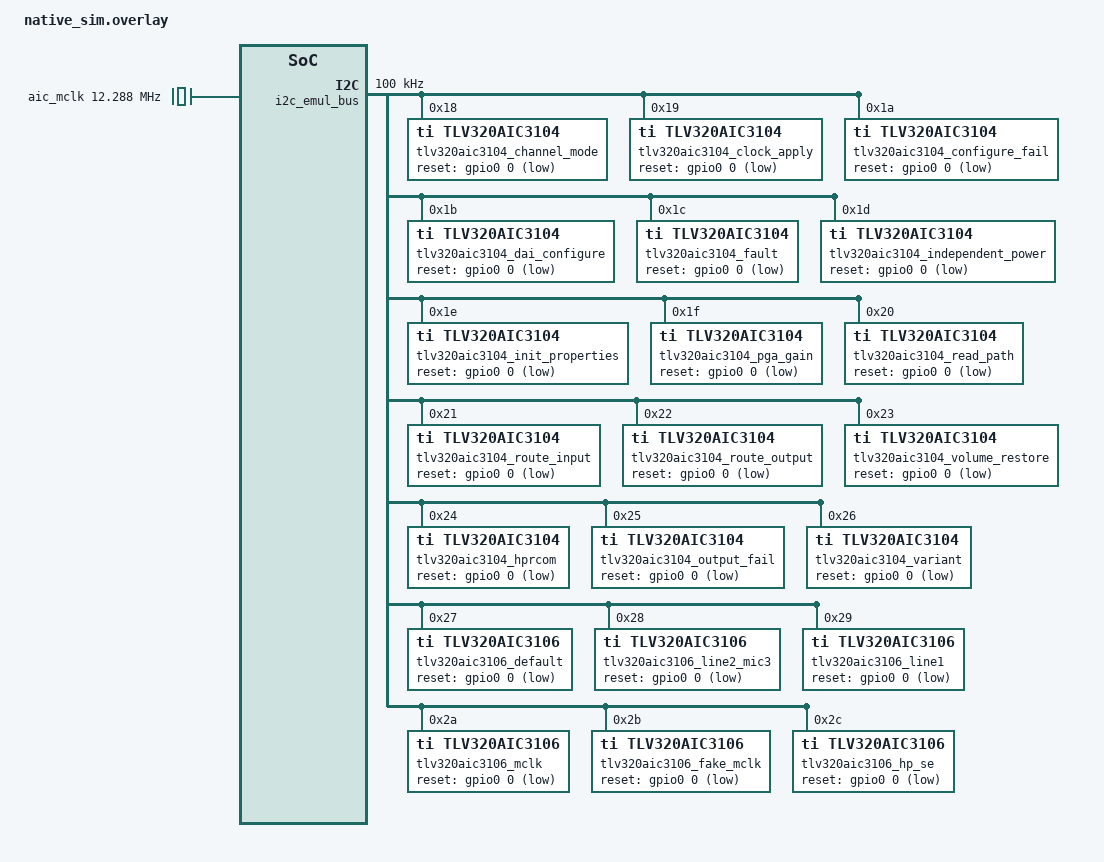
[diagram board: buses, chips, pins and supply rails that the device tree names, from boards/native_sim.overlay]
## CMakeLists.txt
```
# SPDX-FileCopyrightText: Copyright The Zephyr Project Contributors
# SPDX-License-Identifier: Apache-2.0

cmake_minimum_required(VERSION 3.20.0)
find_package(Zephyr REQUIRED HINTS $ENV{ZEPHYR_BASE})
project(tlv320aic3104_test)

target_sources(app PRIVATE
    src/tlv320aic3104_emul.c
    src/test_clock_solver.c
    src/test_clock_apply.c
    src/test_dai_configure.c
    src/test_channel_mode.c
    src/test_route_output.c
    src/test_route_input.c
    src/test_fault.c
    src/test_hprcom.c
    src/test_independent_power.c
    src/test_init_properties.c
    src/test_output_fail.c
    src/test_pga_gain.c
    src/test_read_path.c
    src/test_volume_restore.c
    src/test_configure_fail.c
    src/test_aic3106.c
    src/test_mclk_clock.c
    src/fake_clock.c
    src/test_hp_single_ended.c
)

target_include_directories(app PRIVATE src ${ZEPHYR_BASE}/drivers/audio)
```

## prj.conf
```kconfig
# SPDX-FileCopyrightText: Copyright The Zephyr Project Contributors
# SPDX-License-Identifier: Apache-2.0

CONFIG_ZTEST=y

CONFIG_I2C=y
CONFIG_EMUL=y
CONFIG_I2C_EMUL=y
CONFIG_GPIO=y
CONFIG_GPIO_EMUL=y
CONFIG_CLOCK_CONTROL=y

CONFIG_AUDIO=y
CONFIG_AUDIO_CODEC=y
CONFIG_AUDIO_TLV320AIC3104=y

CONFIG_LOG=y
```

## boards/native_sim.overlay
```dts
/*
 * SPDX-FileCopyrightText: Copyright The Zephyr Project Contributors
 * SPDX-License-Identifier: Apache-2.0
 */

/ {
	aic_mclk: aic-mclk {
		compatible = "fixed-clock";
		#clock-cells = <0>;
		clock-frequency = <12288000>;
	};

	aic_fake_mclk: aic-fake-mclk {
		compatible = "vnd,aic3104-test-clock";
		#clock-cells = <1>;
		output-rate = <12288000>;
	};

	i2c_emul_bus: i2c_emul@60000000 {
		compatible = "zephyr,i2c-emul-controller";
		reg = <0x60000000 0x1>;
		clock-frequency = <I2C_BITRATE_STANDARD>;
		#address-cells = <1>;
		#size-cells = <0>;
		status = "okay";

		tlv320aic3104_channel_mode: tlv320aic3104@18 {
			compatible = "ti,tlv320aic3104";
			reg = <0x18>;
			reset-gpios = <&gpio0 0 GPIO_ACTIVE_LOW>;
			status = "okay";
		};

		tlv320aic3104_clock_apply: tlv320aic3104@19 {
			compatible = "ti,tlv320aic3104";
			reg = <0x19>;
			reset-gpios = <&gpio0 0 GPIO_ACTIVE_LOW>;
			status = "okay";
		};

		tlv320aic3104_configure_fail: tlv320aic3104@1a {
			compatible = "ti,tlv320aic3104";
			reg = <0x1a>;
			reset-gpios = <&gpio0 0 GPIO_ACTIVE_LOW>;
			status = "okay";
		};

		tlv320aic3104_dai_configure: tlv320aic3104@1b {
			compatible = "ti,tlv320aic3104";
			reg = <0x1b>;
			reset-gpios = <&gpio0 0 GPIO_ACTIVE_LOW>;
			status = "okay";
		};

		tlv320aic3104_fault: tlv320aic3104@1c {
			compatible = "ti,tlv320aic3104";
			reg = <0x1c>;
			reset-gpios = <&gpio0 0 GPIO_ACTIVE_LOW>;
			status = "okay";
		};

		tlv320aic3104_independent_power: tlv320aic3104@1d {
			compatible = "ti,tlv320aic3104";
			reg = <0x1d>;
			reset-gpios = <&gpio0 0 GPIO_ACTIVE_LOW>;
			status = "okay";
		};

		tlv320aic3104_init_properties: tlv320aic3104@1e {
			compatible = "ti,tlv320aic3104";
			reg = <0x1e>;
			reset-gpios = <&gpio0 0 GPIO_ACTIVE_LOW>;

			mic-bias-level = <2>;
			adc-high-pass-filter = <3>;
			status = "okay";
		};

		tlv320aic3104_pga_gain: tlv320aic3104@1f {
			compatible = "ti,tlv320aic3104";
			reg = <0x1f>;
			reset-gpios = <&gpio0 0 GPIO_ACTIVE_LOW>;
			status = "okay";
		};

		tlv320aic3104_read_path: tlv320aic3104@20 {
			compatible = "ti,tlv320aic3104";
			reg = <0x20>;
			reset-gpios = <&gpio0 0 GPIO_ACTIVE_LOW>;
			status = "okay";
		};

		tlv320aic3104_route_input: tlv320aic3104@21 {
			compatible = "ti,tlv320aic3104";
			reg = <0x21>;
			reset-gpios = <&gpio0 0 GPIO_ACTIVE_LOW>;
			status = "okay";
		};

		tlv320aic3104_route_output: tlv320aic3104@22 {
			compatible = "ti,tlv320aic3104";
			reg = <0x22>;
			reset-gpios = <&gpio0 0 GPIO_ACTIVE_LOW>;
			status = "okay";
		};

		tlv320aic3104_volume_restore: tlv320aic3104@23 {
			compatible = "ti,tlv320aic3104";
			reg = <0x23>;
			reset-gpios = <&gpio0 0 GPIO_ACTIVE_LOW>;
			status = "okay";
		};

		tlv320aic3104_hprcom: tlv320aic3104@24 {
			compatible = "ti,tlv320aic3104";
			reg = <0x24>;
			reset-gpios = <&gpio0 0 GPIO_ACTIVE_LOW>;

			hprcom-vcm-output;
			status = "okay";
		};

		tlv320aic3104_output_fail: tlv320aic3104@25 {
			compatible = "ti,tlv320aic3104";
			reg = <0x25>;
			reset-gpios = <&gpio0 0 GPIO_ACTIVE_LOW>;
			status = "okay";
		};

		tlv320aic3104_variant: tlv320aic3104@26 {
			compatible = "ti,tlv320aic3104";
			reg = <0x26>;
			reset-gpios = <&gpio0 0 GPIO_ACTIVE_LOW>;
			status = "okay";
		};

		tlv320aic3106_default: tlv320aic3106@27 {
			compatible = "ti,tlv320aic3106";
			reg = <0x27>;
			reset-gpios = <&gpio0 0 GPIO_ACTIVE_LOW>;
			status = "okay";
		};

		tlv320aic3106_line2_mic3: tlv320aic3106@28 {
			compatible = "ti,tlv320aic3106";
			reg = <0x28>;
			reset-gpios = <&gpio0 0 GPIO_ACTIVE_LOW>;
			left-capture-input = "line2";
			right-capture-input = "mic3";
			status = "okay";
		};

		tlv320aic3106_line1: tlv320aic3106@29 {
			compatible = "ti,tlv320aic3106";
			reg = <0x29>;
			reset-gpios = <&gpio0 0 GPIO_ACTIVE_LOW>;
			left-capture-input = "line1";
			right-capture-input = "line1";
			status = "okay";
		};

		tlv320aic3106_mclk: tlv320aic3106@2a {
			compatible = "ti,tlv320aic3106";
			reg = <0x2a>;
			reset-gpios = <&gpio0 0 GPIO_ACTIVE_LOW>;
			clocks = <&aic_mclk>;
			clock-names = "mclk";
			status = "okay";
		};

		tlv320aic3106_fake_mclk: tlv320aic3106@2b {
			compatible = "ti,tlv320aic3106";
			reg = <0x2b>;
			reset-gpios = <&gpio0 0 GPIO_ACTIVE_LOW>;
			clocks = <&aic_fake_mclk 7>;
			clock-names = "mclk";
			status = "okay";
		};

		tlv320aic3106_hp_se: tlv320aic3106@2c {
			compatible = "ti,tlv320aic3106";
			reg = <0x2c>;
			reset-gpios = <&gpio0 0 GPIO_ACTIVE_LOW>;
			hp-single-ended;
			status = "okay";
		};
	};
};
```

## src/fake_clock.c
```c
/*
 * SPDX-FileCopyrightText: Copyright The Zephyr Project Contributors
 * SPDX-License-Identifier: Apache-2.0
 */

#define DT_DRV_COMPAT vnd_aic3104_test_clock

#include <zephyr/device.h>
#include <zephyr/drivers/clock_control.h>

#include "fake_clock.h"

static unsigned int s_on_count;
static uintptr_t s_last_subsys;
static int s_on_result;

void fake_clock_reset(void)
{
	s_on_count = 0U;
	s_last_subsys = 0U;
	s_on_result = 0;
}

unsigned int fake_clock_on_count(void)
{
	return s_on_count;
}

uintptr_t fake_clock_last_subsys(void)
{
	return s_last_subsys;
}

void fake_clock_set_on_result(int ret)
{
	s_on_result = ret;
}

static int fake_clock_on(const struct device *dev, clock_control_subsys_t sys)
{
	ARG_UNUSED(dev);

	s_on_count++;
	s_last_subsys = (uintptr_t)sys;

	return s_on_result;
}

static int fake_clock_get_rate(const struct device *dev, clock_control_subsys_t sys,
			       uint32_t *rate)
{
	ARG_UNUSED(sys);

	*rate = *(const uint32_t *)dev->config;

	return 0;
}

static DEVICE_API(clock_control, fake_clock_api) = {
	.on = fake_clock_on,
	.get_rate = fake_clock_get_rate,
};

#define FAKE_CLOCK_INIT(inst)                                                                      \
	static const uint32_t fake_clock_rate_##inst = DT_INST_PROP(inst, output_rate);            \
	DEVICE_DT_INST_DEFINE(inst, NULL, NULL, NULL, &fake_clock_rate_##inst, PRE_KERNEL_1,       \
			      CONFIG_CLOCK_CONTROL_INIT_PRIORITY, &fake_clock_api);

DT_INST_FOREACH_STATUS_OKAY(FAKE_CLOCK_INIT)
```

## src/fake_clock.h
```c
/*
 * SPDX-FileCopyrightText: Copyright The Zephyr Project Contributors
 * SPDX-License-Identifier: Apache-2.0
 */

#pragma once

#include <stdint.h>

void fake_clock_reset(void);

unsigned int fake_clock_on_count(void);

uintptr_t fake_clock_last_subsys(void);

void fake_clock_set_on_result(int ret);
```

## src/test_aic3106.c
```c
/*
 * SPDX-FileCopyrightText: Copyright The Zephyr Project Contributors
 * SPDX-License-Identifier: Apache-2.0
 */

/*
 * TLV320AIC3106 (ti,tlv320aic3106) against the TLV320AIC3104 register model.
 *
 * Register values follow the datasheets: SLAS509G (TLV320AIC3106) and
 * SLAS510G (TLV320AIC3104).
 *   R17/R18 MIC3L/R to left/right ADC (3106 Tables 10-25/10-26), MIC2/LINE2
 *           on the 3104 (Tables 10-23/10-24): D7-D4 left pin, D3-D0 right
 *           pin, 0000 = 0 dB, 1111 = not connected.
 *   R19/R22 LINE1L/LINE1R to left/right ADC (3106 Tables 10-27/10-30):
 *           D6-D3 level (1111 = not connected), D2 ADC channel power.
 *   R20/R23 LINE2L/LINE2R to left/right ADC (3106 Tables 10-28/10-31):
 *           D7 differential, D6-D3 level (1111 = not connected), D2 weak
 *           common-mode bias. Reserved, "do not write", on the 3104
 *           (Tables 10-26/10-29).
 */

#include <string.h>

#include <zephyr/ztest.h>
#include <zephyr/device.h>
#include <zephyr/audio/codec.h>

#include "tlv320aic3104_priv.h"

#include "tlv320aic3104_emul.h"

#define AIC3104       DEVICE_DT_GET(DT_NODELABEL(tlv320aic3104_variant))
#define AIC3106       DEVICE_DT_GET(DT_NODELABEL(tlv320aic3106_default))
#define AIC3106_EVM   DEVICE_DT_GET(DT_NODELABEL(tlv320aic3106_line2_mic3))
#define AIC3106_LINE1 DEVICE_DT_GET(DT_NODELABEL(tlv320aic3106_line1))

#define R17_MIC3_TO_LADC   0x11U
#define R18_MIC3_TO_RADC   0x12U
#define R19_LINE1L_TO_LADC 0x13U
#define R20_LINE2L_TO_LADC 0x14U
#define R22_LINE1R_TO_RADC 0x16U
#define R23_LINE2R_TO_RADC 0x17U

#define MIC3_OFF        0xFFU
#define MIC3L_LEFT_0DB  0x0FU
#define MIC3R_RIGHT_0DB 0xF0U
#define MIC3_MONO_MIX   0x44U
#define LEVEL_OFF       0x78U
#define ADC_POWER       0x04U

static const struct audio_codec_cfg codec_cfg = {
	.mclk_freq = 12288000,
	.dai_type = AUDIO_DAI_TYPE_I2S,
	.dai_cfg.i2s.frame_clk_freq = 48000,
	.dai_cfg.i2s.word_size = 16,
};

static void configure(const struct device *dev)
{
	struct audio_codec_cfg cfg = codec_cfg;

	zassert_ok(audio_codec_configure(dev, &cfg));
}

static void assert_reg(uint8_t addr, uint8_t expected, const char *what)
{
	uint8_t val = tlv320aic3104_emul_last_val(0, addr);

	zassert_equal(val, expected, "%s: R%u = 0x%02x, expected 0x%02x", what, addr, val,
		      expected);
}

static void assert_input_regs_untouched(void)
{
	static const uint8_t regs[] = {R17_MIC3_TO_LADC,   R18_MIC3_TO_RADC,   R19_LINE1L_TO_LADC,
				       R20_LINE2L_TO_LADC, R22_LINE1R_TO_RADC, R23_LINE2R_TO_RADC};

	for (size_t i = 0; i < ARRAY_SIZE(regs); i++) {
		zassert_false(tlv320aic3104_emul_was_written(0, regs[i]), "R%u written", regs[i]);
	}
}

/* TLV320AIC3104: R20/R23 are reserved, so LINE2 to ADC is not an input. */

ZTEST(tlv320_aic3106, test_aic3104_rejects_aic3106_line2)
{
	tlv320aic3104_emul_reset();
	zassert_equal(
		audio_codec_route_input(AIC3104, AUDIO_CHANNEL_ALL, TLV320AIC3106_INPUT_LINE2),
		-ENOTSUP);
	assert_input_regs_untouched();
}

ZTEST(tlv320_aic3106, test_aic3104_never_writes_reserved_registers)
{
	tlv320aic3104_emul_reset();
	configure(AIC3104);
	zassert_ok(audio_codec_route_input(AIC3104, AUDIO_CHANNEL_ALL, TLV320AIC3104_INPUT_LINE1));
	zassert_ok(audio_codec_route_input(AIC3104, AUDIO_CHANNEL_FRONT_LEFT,
					   TLV320AIC3104_INPUT_LINE2));
	zassert_ok(audio_codec_route_output(AIC3104, AUDIO_CHANNEL_FRONT_CENTER,
					    TLV320AIC3104_OUTPUT_HP));
	zassert_ok(audio_codec_route_output(AIC3104, AUDIO_CHANNEL_ALL, TLV320AIC3104_OUTPUT_LOP));
	zassert_ok(audio_codec_start(AIC3104, AUDIO_DAI_DIR_TXRX));
	zassert_ok(audio_codec_set_property(AIC3104, AUDIO_PROPERTY_OUTPUT_VOLUME,
					    AUDIO_CHANNEL_ALL,
					    (audio_property_value_t){.vol = -6}));
	zassert_ok(audio_codec_set_property(AIC3104, AUDIO_PROPERTY_INPUT_VOLUME, AUDIO_CHANNEL_ALL,
					    (audio_property_value_t){.vol = 60}));
	zassert_ok(audio_codec_stop(AIC3104, AUDIO_DAI_DIR_TXRX));
	zassert_ok(audio_codec_route_output(AIC3104, AUDIO_CHANNEL_ALL, TLV320AIC3104_OUTPUT_HP));

	zassert_equal(tlv320aic3104_emul_reserved_writes(), 0U, "reserved register written");
	zassert_false(tlv320aic3104_emul_was_written(0, R20_LINE2L_TO_LADC), "R20 written");
	zassert_false(tlv320aic3104_emul_was_written(0, R23_LINE2R_TO_RADC), "R23 written");
}

/*
 * Same configure() on both parts: identical page 0 writes, except that the
 * TLV320AIC3106 also disconnects LINE2 from the ADCs (R20/R23 = 0x78).
 */
ZTEST(tlv320_aic3106, test_configure_matches_aic3104_except_line2)
{
	uint8_t regs_3104[128];
	bool written_3104[128];

	/* Same output state on both nodes; other tests may have left LOP selected. */
	zassert_ok(audio_codec_route_output(AIC3104, AUDIO_CHANNEL_ALL, TLV320AIC3104_OUTPUT_HP));
	zassert_ok(audio_codec_route_output(AIC3106, AUDIO_CHANNEL_ALL, TLV320AIC3104_OUTPUT_HP));

	tlv320aic3104_emul_reset();
	configure(AIC3104);
	for (uint8_t r = 1; r < 128; r++) {
		regs_3104[r] = tlv320aic3104_emul_last_val(0, r);
		written_3104[r] = tlv320aic3104_emul_was_written(0, r);
	}

	tlv320aic3104_emul_reset();
	configure(AIC3106);

	for (uint8_t r = 1; r < 128; r++) {
		if (r == R20_LINE2L_TO_LADC || r == R23_LINE2R_TO_RADC) {
			continue;
		}
		zassert_equal(tlv320aic3104_emul_was_written(0, r), written_3104[r],
			      "R%u written on one part only", r);
		zassert_equal(tlv320aic3104_emul_last_val(0, r), regs_3104[r],
			      "R%u differs between the parts", r);
	}
	assert_reg(R20_LINE2L_TO_LADC, LEVEL_OFF, "LINE2L off the left ADC");
	assert_reg(R23_LINE2R_TO_RADC, LEVEL_OFF, "LINE2R off the right ADC");
	assert_reg(R17_MIC3_TO_LADC, MIC3L_LEFT_0DB, "default MIC3L to left ADC");
	assert_reg(R18_MIC3_TO_RADC, MIC3R_RIGHT_0DB, "default MIC3R to right ADC");
}


ZTEST(tlv320_aic3106, test_route_line2_all)
{
	tlv320aic3104_emul_reset();
	zassert_ok(audio_codec_route_input(AIC3106, AUDIO_CHANNEL_ALL, TLV320AIC3106_INPUT_LINE2));

	assert_reg(R20_LINE2L_TO_LADC, 0x00, "LINE2L to left ADC 0 dB");
	assert_reg(R23_LINE2R_TO_RADC, 0x00, "LINE2R to right ADC 0 dB");
	assert_reg(R17_MIC3_TO_LADC, MIC3_OFF, "MIC3 off the left ADC");
	assert_reg(R18_MIC3_TO_RADC, MIC3_OFF, "MIC3 off the right ADC");
	assert_reg(R19_LINE1L_TO_LADC, LEVEL_OFF, "LINE1L off");
	assert_reg(R22_LINE1R_TO_RADC, LEVEL_OFF, "LINE1R off");
}

ZTEST(tlv320_aic3106, test_route_line2_left_leaves_right_alone)
{
	tlv320aic3104_emul_reset();
	zassert_ok(audio_codec_route_input(AIC3106, AUDIO_CHANNEL_FRONT_LEFT,
					   TLV320AIC3106_INPUT_LINE2));

	assert_reg(R20_LINE2L_TO_LADC, 0x00, "LINE2L to left ADC 0 dB");
	assert_reg(R17_MIC3_TO_LADC, MIC3_OFF, "MIC3 off the left ADC");
	assert_reg(R19_LINE1L_TO_LADC, LEVEL_OFF, "LINE1L off");
	zassert_false(tlv320aic3104_emul_was_written(0, R18_MIC3_TO_RADC), "R18 written");
	zassert_false(tlv320aic3104_emul_was_written(0, R22_LINE1R_TO_RADC), "R22 written");
	zassert_false(tlv320aic3104_emul_was_written(0, R23_LINE2R_TO_RADC), "R23 written");
}

ZTEST(tlv320_aic3106, test_line2_level_keeps_differential_and_bias_bits)
{
	tlv320aic3104_emul_reset();
		tlv320aic3104_emul_set_val(0, R20_LINE2L_TO_LADC, 0x84);
	tlv320aic3104_emul_set_val(0, R23_LINE2R_TO_RADC, 0x80);

	zassert_ok(audio_codec_route_input(AIC3106, AUDIO_CHANNEL_ALL, TLV320AIC3106_INPUT_LINE2));
	assert_reg(R20_LINE2L_TO_LADC, 0x84, "LINE2L connected, D7/D2 kept");
	assert_reg(R23_LINE2R_TO_RADC, 0x80, "LINE2R connected, D7 kept");

	zassert_ok(audio_codec_route_input(AIC3106, AUDIO_CHANNEL_ALL, TLV320AIC3106_INPUT_MIC3));
	assert_reg(R20_LINE2L_TO_LADC, 0xFC, "LINE2L off, D7/D2 kept");
	assert_reg(R23_LINE2R_TO_RADC, 0xF8, "LINE2R off, D7 kept");
	assert_reg(R17_MIC3_TO_LADC, MIC3L_LEFT_0DB, "MIC3L to left ADC");
	assert_reg(R18_MIC3_TO_RADC, MIC3R_RIGHT_0DB, "MIC3R to right ADC");
}

ZTEST(tlv320_aic3106, test_route_mic3_right_for_jack_microphone)
{
	tlv320aic3104_emul_reset();
	tlv320aic3104_emul_set_val(0, R23_LINE2R_TO_RADC, 0x00);
	zassert_ok(audio_codec_route_input(AIC3106, AUDIO_CHANNEL_FRONT_RIGHT,
					   TLV320AIC3106_INPUT_MIC3));

	assert_reg(R18_MIC3_TO_RADC, MIC3R_RIGHT_0DB, "MIC3R to right ADC 0 dB");
	assert_reg(R23_LINE2R_TO_RADC, LEVEL_OFF, "LINE2R off the right ADC");
	assert_reg(R22_LINE1R_TO_RADC, LEVEL_OFF, "LINE1R off");
	zassert_false(tlv320aic3104_emul_was_written(0, R17_MIC3_TO_LADC), "R17 written");
}

ZTEST(tlv320_aic3106, test_route_line1_disconnects_line2)
{
	tlv320aic3104_emul_reset();
	zassert_ok(audio_codec_route_input(AIC3106, AUDIO_CHANNEL_ALL, TLV320AIC3106_INPUT_LINE2));
	zassert_ok(audio_codec_route_input(AIC3106, AUDIO_CHANNEL_ALL, TLV320AIC3106_INPUT_LINE1));

	assert_reg(R19_LINE1L_TO_LADC, 0x00, "LINE1L to left ADC 0 dB");
	assert_reg(R22_LINE1R_TO_RADC, 0x00, "LINE1R to right ADC 0 dB");
	assert_reg(R20_LINE2L_TO_LADC, LEVEL_OFF, "LINE2L off");
	assert_reg(R23_LINE2R_TO_RADC, LEVEL_OFF, "LINE2R off");
	assert_reg(R17_MIC3_TO_LADC, MIC3_OFF, "MIC3 off the left ADC");
	assert_reg(R18_MIC3_TO_RADC, MIC3_OFF, "MIC3 off the right ADC");
}

ZTEST(tlv320_aic3106, test_unsupported_input_writes_nothing)
{
	tlv320aic3104_emul_reset();
	zassert_equal(
		audio_codec_route_input(AIC3106, AUDIO_CHANNEL_ALL, TLV320AIC3106_INPUT_LINE2 + 1),
		-ENOTSUP);
	assert_input_regs_untouched();
}

ZTEST(tlv320_aic3106, test_rx_start_keeps_line2)
{
	tlv320aic3104_emul_reset();
	configure(AIC3106);
	zassert_ok(audio_codec_route_input(AIC3106, AUDIO_CHANNEL_ALL, TLV320AIC3106_INPUT_LINE2));
	zassert_ok(audio_codec_start(AIC3106, AUDIO_DAI_DIR_RX));

	assert_reg(R20_LINE2L_TO_LADC, 0x00, "LINE2L stays on the left ADC");
	assert_reg(R23_LINE2R_TO_RADC, 0x00, "LINE2R stays on the right ADC");
	assert_reg(R17_MIC3_TO_LADC, MIC3_OFF, "MIC3 stays off the left ADC");
	assert_reg(R18_MIC3_TO_RADC, MIC3_OFF, "MIC3 stays off the right ADC");
	assert_reg(R19_LINE1L_TO_LADC, LEVEL_OFF | ADC_POWER, "left ADC on, LINE1L off");
	assert_reg(R22_LINE1R_TO_RADC, LEVEL_OFF | ADC_POWER, "right ADC on, LINE1R off");
}

ZTEST(tlv320_aic3106, test_mono_has_no_line2_mix)
{
	tlv320aic3104_emul_reset();
	configure(AIC3106);
	zassert_ok(audio_codec_route_input(AIC3106, AUDIO_CHANNEL_ALL, TLV320AIC3106_INPUT_LINE2));
	zassert_ok(audio_codec_route_output(AIC3106, AUDIO_CHANNEL_FRONT_CENTER,
					    TLV320AIC3104_OUTPUT_HP));
	zassert_ok(audio_codec_start(AIC3106, AUDIO_DAI_DIR_RX));

	assert_reg(R17_MIC3_TO_LADC, MIC3_OFF, "mono: MIC3 off the left ADC");
	assert_reg(R18_MIC3_TO_RADC, MIC3_OFF, "mono: MIC3 off the right ADC");
	assert_reg(R20_LINE2L_TO_LADC, 0x00, "mono: LINE2L stays on the left ADC");
	assert_reg(R23_LINE2R_TO_RADC, 0x00, "mono: LINE2R stays on the right ADC");

	/* Leave the shared node in stereo for the other tests. */
	zassert_ok(audio_codec_route_output(AIC3106, AUDIO_CHANNEL_ALL, TLV320AIC3104_OUTPUT_HP));
}

ZTEST(tlv320_aic3106, test_mono_mixes_mic3_like_aic3104_line2)
{
	tlv320aic3104_emul_reset();
	configure(AIC3106);
	zassert_ok(audio_codec_route_output(AIC3106, AUDIO_CHANNEL_FRONT_CENTER,
					    TLV320AIC3104_OUTPUT_HP));

	assert_reg(R17_MIC3_TO_LADC, MIC3_MONO_MIX, "MIC3L and MIC3R at -6 dB to the left ADC");
	assert_reg(R18_MIC3_TO_RADC, MIC3_MONO_MIX, "MIC3L and MIC3R at -6 dB to the right ADC");

	zassert_ok(audio_codec_route_output(AIC3106, AUDIO_CHANNEL_ALL, TLV320AIC3104_OUTPUT_HP));
}


ZTEST(tlv320_aic3106, test_dt_default_line2_left_mic3_right)
{
	tlv320aic3104_emul_reset();
	configure(AIC3106_EVM);

	assert_reg(R20_LINE2L_TO_LADC, 0x00, "LINE2L to left ADC");
	assert_reg(R17_MIC3_TO_LADC, MIC3_OFF, "MIC3 off the left ADC");
	assert_reg(R19_LINE1L_TO_LADC, LEVEL_OFF, "LINE1L off");
	assert_reg(R18_MIC3_TO_RADC, MIC3R_RIGHT_0DB, "MIC3R to right ADC");
	assert_reg(R23_LINE2R_TO_RADC, LEVEL_OFF, "LINE2R off");
	assert_reg(R22_LINE1R_TO_RADC, LEVEL_OFF, "LINE1R off");

	zassert_ok(audio_codec_start(AIC3106_EVM, AUDIO_DAI_DIR_RX));
	assert_reg(R20_LINE2L_TO_LADC, 0x00, "start keeps LINE2L");
	assert_reg(R17_MIC3_TO_LADC, MIC3_OFF, "start keeps MIC3 off the left ADC");
	assert_reg(R18_MIC3_TO_RADC, MIC3R_RIGHT_0DB, "start keeps MIC3R");
	assert_reg(R19_LINE1L_TO_LADC, LEVEL_OFF | ADC_POWER, "left ADC powered");
	assert_reg(R22_LINE1R_TO_RADC, LEVEL_OFF | ADC_POWER, "right ADC powered");
}

ZTEST(tlv320_aic3106, test_configure_restores_dt_default)
{
	tlv320aic3104_emul_reset();
	configure(AIC3106_EVM);
	zassert_ok(
		audio_codec_route_input(AIC3106_EVM, AUDIO_CHANNEL_ALL, TLV320AIC3106_INPUT_LINE1));
	configure(AIC3106_EVM);

	assert_reg(R20_LINE2L_TO_LADC, 0x00, "LINE2L back on the left ADC");
	assert_reg(R18_MIC3_TO_RADC, MIC3R_RIGHT_0DB, "MIC3R back on the right ADC");
	assert_reg(R19_LINE1L_TO_LADC, LEVEL_OFF, "LINE1L off again");
	assert_reg(R22_LINE1R_TO_RADC, LEVEL_OFF, "LINE1R off again");
}

ZTEST(tlv320_aic3106, test_dt_default_line1)
{
	tlv320aic3104_emul_reset();
	configure(AIC3106_LINE1);

	assert_reg(R19_LINE1L_TO_LADC, 0x00, "LINE1L to left ADC");
	assert_reg(R22_LINE1R_TO_RADC, 0x00, "LINE1R to right ADC");
	assert_reg(R17_MIC3_TO_LADC, MIC3_OFF, "MIC3 off the left ADC");
	assert_reg(R18_MIC3_TO_RADC, MIC3_OFF, "MIC3 off the right ADC");
	assert_reg(R20_LINE2L_TO_LADC, LEVEL_OFF, "LINE2L off");
	assert_reg(R23_LINE2R_TO_RADC, LEVEL_OFF, "LINE2R off");

	zassert_ok(audio_codec_start(AIC3106_LINE1, AUDIO_DAI_DIR_RX));
	assert_reg(R19_LINE1L_TO_LADC, ADC_POWER, "LINE1L kept, left ADC powered");
	assert_reg(R22_LINE1R_TO_RADC, ADC_POWER, "LINE1R kept, right ADC powered");
}

ZTEST_SUITE(tlv320_aic3106, NULL, NULL, NULL, NULL, NULL);
```

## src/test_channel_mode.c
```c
/*
 * SPDX-FileCopyrightText: Copyright The Zephyr Project Contributors
 * SPDX-License-Identifier: Apache-2.0
 */

#include <zephyr/ztest.h>
#include <zephyr/device.h>
#include <zephyr/audio/codec.h>
#include <zephyr/drivers/i2c.h>
#include <zephyr/drivers/i2c_emul.h>

#include "tlv320aic3104_priv.h"

#include "tlv320aic3104_emul.h"

#define CODEC DEVICE_DT_GET(DT_NODELABEL(tlv320aic3104_channel_mode))

ZTEST(tlv320_channel_mode, test_stereo_sets_datapath_0x0a)
{
	zassert_true(device_is_ready(CODEC));
	tlv320aic3104_emul_reset();
	zassert_ok(audio_codec_route_output(CODEC, AUDIO_CHANNEL_ALL, TLV320AIC3104_OUTPUT_HP));
	zassert_equal(tlv320aic3104_emul_last_val(0, 0x07), 0x0A, "stereo datapath");
	zassert_equal(tlv320aic3104_emul_last_val(0, 0x11), 0x0F, "stereo R17");
	zassert_equal(tlv320aic3104_emul_last_val(0, 0x12), 0xF0, "stereo R18");
}

ZTEST(tlv320_channel_mode, test_mono_sets_datapath_0x1e)
{
	tlv320aic3104_emul_reset();
	zassert_ok(audio_codec_route_output(CODEC, AUDIO_CHANNEL_FRONT_CENTER,
					    TLV320AIC3104_OUTPUT_HP));
	zassert_equal(tlv320aic3104_emul_last_val(0, 0x07), 0x1E, "mono datapath");
	zassert_equal(tlv320aic3104_emul_last_val(0, 0x11), 0x44, "mono R17");
	zassert_equal(tlv320aic3104_emul_last_val(0, 0x12), 0x44, "mono R18");
}

ZTEST(tlv320_channel_mode, test_capture_start_powers_adc_and_routes_line2)
{
	tlv320aic3104_emul_reset();

	tlv320aic3104_emul_set_val(0, 0x13, 0x78);
	tlv320aic3104_emul_set_val(0, 0x16, 0x78);
	zassert_ok(audio_codec_route_output(CODEC, AUDIO_CHANNEL_ALL, TLV320AIC3104_OUTPUT_HP));
	zassert_ok(audio_codec_start(CODEC, AUDIO_DAI_DIR_RX));
	zassert_equal(tlv320aic3104_emul_last_val(0, 0x13), 0x7C, "Left-ADC powered (R19)");
	zassert_equal(tlv320aic3104_emul_last_val(0, 0x16), 0x7C, "Right-ADC powered (R22)");
	zassert_equal(tlv320aic3104_emul_last_val(0, 0x0F), 0x00, "Left PGA 0dB unmuted (R15)");
	zassert_equal(tlv320aic3104_emul_last_val(0, 0x10), 0x00, "Right PGA 0dB unmuted (R16)");
	zassert_equal(tlv320aic3104_emul_last_val(0, 0x11), 0x0F, "LINE2L->LADC (R17)");
	zassert_equal(tlv320aic3104_emul_last_val(0, 0x12), 0xF0, "LINE2R->RADC (R18)");

	zassert_equal(tlv320aic3104_emul_last_val(0, 0x19), 0x00, "MICBIAS off by default (R25)");
	zassert_equal(tlv320aic3104_emul_last_val(0, 0x0C), 0x00,
		      "ADC HPF disabled by default (R12)");
}

ZTEST(tlv320_channel_mode, test_channel_mode_preserves_clock_family_bit)
{

	tlv320aic3104_emul_reset();
	tlv320aic3104_emul_set_val(0, 0x07, 0x80);

	zassert_ok(audio_codec_route_output(CODEC, AUDIO_CHANNEL_FRONT_CENTER,
					    TLV320AIC3104_OUTPUT_HP));
	zassert_equal(tlv320aic3104_emul_last_val(0, 0x07), 0x9E, "family bit survives mono write");

	zassert_ok(audio_codec_route_output(CODEC, AUDIO_CHANNEL_ALL, TLV320AIC3104_OUTPUT_HP));
	zassert_equal(tlv320aic3104_emul_last_val(0, 0x07), 0x8A,
		      "family bit survives stereo write");
}

ZTEST(tlv320_channel_mode, test_capture_stop_powers_down_adc)
{
	tlv320aic3104_emul_reset();

	tlv320aic3104_emul_set_val(0, 0x13, 0x78);
	tlv320aic3104_emul_set_val(0, 0x16, 0x78);
	zassert_ok(audio_codec_start(CODEC, AUDIO_DAI_DIR_RX));
	zassert_ok(audio_codec_stop(CODEC, AUDIO_DAI_DIR_RX));
	zassert_equal(tlv320aic3104_emul_last_val(0, 0x13), 0x78, "Left-ADC off (R19)");
	zassert_equal(tlv320aic3104_emul_last_val(0, 0x16), 0x78, "Right-ADC off (R22)");
	zassert_equal(tlv320aic3104_emul_last_val(0, 0x0F), 0x80, "Left PGA muted (R15)");
}

ZTEST_SUITE(tlv320_channel_mode, NULL, NULL, NULL, NULL, NULL);
```

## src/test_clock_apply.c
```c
/*
 * SPDX-FileCopyrightText: Copyright The Zephyr Project Contributors
 * SPDX-License-Identifier: Apache-2.0
 */

#include <errno.h>
#include <zephyr/audio/codec.h>
#include <zephyr/device.h>
#include <zephyr/ztest.h>

#include "tlv320aic3104_emul.h"

#define CODEC DEVICE_DT_GET(DT_NODELABEL(tlv320aic3104_clock_apply))

#define R_NDAC_NADC 0x02U
#define R_PLL_A     0x03U
#define R_PLL_B     0x04U
#define R_PLL_C     0x05U
#define R_PLL_D     0x06U
#define R_DATAPATH  0x07U
#define R_OVERFLOW  0x0BU
#define R_CLOCK     0x65U

static void before_each(void *fixture)
{
	ARG_UNUSED(fixture);
	tlv320aic3104_emul_reset();
}

ZTEST_SUITE(tlv320_clock_apply, NULL, NULL, before_each, NULL, NULL);

ZTEST(tlv320_clock_apply, test_divider_only_register_set)
{
	struct audio_codec_cfg cfg = {
		.mclk_freq = 12288000,
		.dai_type = AUDIO_DAI_TYPE_I2S,
		.dai_cfg.i2s.frame_clk_freq = 48000,
		.dai_cfg.i2s.word_size = 16,
	};

	zassert_ok(audio_codec_configure(CODEC, &cfg));

	zassert_equal(tlv320aic3104_emul_last_val(0, R_NDAC_NADC), 0x00, "R2 NCODEC=1");
	zassert_equal(tlv320aic3104_emul_last_val(0, R_PLL_A), 0x10, "R3 PLL off, Q=2");
	zassert_equal(tlv320aic3104_emul_last_val(0, R_PLL_B), 0x00, "R4 unused, PLL off");
	zassert_equal(tlv320aic3104_emul_last_val(0, R_PLL_C), 0x00, "R5 unused, PLL off");
	zassert_equal(tlv320aic3104_emul_last_val(0, R_PLL_D), 0x00, "R6 unused, PLL off");
	zassert_equal(tlv320aic3104_emul_last_val(0, R_OVERFLOW), 0x00,
		      "R11 PLL R unused, PLL off");
	zassert_equal(tlv320aic3104_emul_last_val(0, R_DATAPATH), 0x0A,
		      "R7 stereo datapath, 48 kHz family bit clear");

	zassert_equal(tlv320aic3104_emul_last_val(0, R_CLOCK), 0x01,
		      "R101 CODEC_CLKIN = CLKDIV_OUT when the PLL is off");
}

ZTEST(tlv320_clock_apply, test_pll_required_register_set)
{
	struct audio_codec_cfg cfg = {
		.mclk_freq = 12000000,
		.dai_type = AUDIO_DAI_TYPE_I2S,
		.dai_cfg.i2s.frame_clk_freq = 44100,
		.dai_cfg.i2s.word_size = 16,
	};

	zassert_ok(audio_codec_configure(CODEC, &cfg));

	zassert_equal(tlv320aic3104_emul_last_val(0, R_NDAC_NADC), 0x00, "R2 NCODEC=1");
	zassert_equal(tlv320aic3104_emul_last_val(0, R_PLL_A), 0x81, "R3 PLL on, P=1");
	zassert_equal(tlv320aic3104_emul_last_val(0, R_PLL_B), 0x1C, "R4 J=7");
	zassert_equal(tlv320aic3104_emul_last_val(0, R_PLL_C), 0x52, "R5 D MSBs");
	zassert_equal(tlv320aic3104_emul_last_val(0, R_PLL_D), 0x40, "R6 D LSBs");
	zassert_equal(tlv320aic3104_emul_last_val(0, R_OVERFLOW), 0x01, "R11 PLL R=1");
	zassert_equal(tlv320aic3104_emul_last_val(0, R_DATAPATH), 0x8A,
		      "R7 stereo datapath, 44.1 kHz family bit set");

	zassert_equal(tlv320aic3104_emul_last_val(0, R_CLOCK), 0x00,
		      "R101 CODEC_CLKIN = PLLDIV_OUT when the PLL is on");
}

ZTEST(tlv320_clock_apply, test_unreachable_rate_writes_no_clock_register)
{
	struct audio_codec_cfg cfg = {
		.mclk_freq = 12000000,
		.dai_type = AUDIO_DAI_TYPE_I2S,
		.dai_cfg.i2s.frame_clk_freq = 44101,
		.dai_cfg.i2s.word_size = 16,
	};

	zassert_equal(audio_codec_configure(CODEC, &cfg), -ENOTSUP);

	zassert_equal(tlv320aic3104_emul_last_val(0, R_NDAC_NADC), 0x00, "R2 untouched");
	zassert_equal(tlv320aic3104_emul_last_val(0, R_PLL_A), 0x00, "R3 untouched");
	zassert_equal(tlv320aic3104_emul_last_val(0, R_PLL_B), 0x00, "R4 untouched");
	zassert_equal(tlv320aic3104_emul_last_val(0, R_PLL_C), 0x00, "R5 untouched");
	zassert_equal(tlv320aic3104_emul_last_val(0, R_PLL_D), 0x00, "R6 untouched");
	zassert_equal(tlv320aic3104_emul_last_val(0, R_OVERFLOW), 0x00, "R11 untouched");
	zassert_equal(tlv320aic3104_emul_last_val(0, R_DATAPATH), 0x00,
		      "R7 untouched - configure() aborted before any write");
	zassert_equal(tlv320aic3104_emul_last_val(0, R_CLOCK), 0x00, "R101 untouched");
}
```

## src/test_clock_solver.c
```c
/*
 * SPDX-FileCopyrightText: Copyright The Zephyr Project Contributors
 * SPDX-License-Identifier: Apache-2.0
 */

#include <errno.h>
#include <stdint.h>

#include <zephyr/ztest.h>

#include "tlv320aic3104_priv.h"

static bool decoded_rate_matches(const struct tlv320aic3104_clock_solution *sol, uint32_t mclk_hz,
				 uint32_t expected_rate_hz)
{
	uint8_t ncodec_code = sol->r2_ndac_nadc & 0x0F;

	zassert_equal(ncodec_code, (sol->r2_ndac_nadc >> 4) & 0x0F, "NDAC != NADC");

	int64_t fsref_x2;

	if (sol->pll_enabled) {
		uint8_t p_code = sol->r3_pll_enable_q_p & 0x07;
		uint8_t r_code = sol->r11_pll_r & 0x0F;
		uint32_t p = (p_code == 0) ? 8 : p_code;
		uint32_t r = (r_code == 0) ? 16 : r_code;
		uint32_t j = (sol->r4_pll_j >> 2) & 0x3F;
		uint32_t d =
			(((uint32_t)sol->r5_pll_d_msb) << 6) | ((sol->r6_pll_d_lsb >> 2) & 0x3F);
		int64_t k10000 = (int64_t)j * 10000 + d;

		int64_t num = (int64_t)mclk_hz * k10000 * r;
		int64_t den = 1024LL * p * 10000LL;

		zassert_equal(num % den, 0, "PLL solution does not reproduce an exact fS(ref)");
		fsref_x2 = num / den;
	} else {
		uint8_t q_code = (sol->r3_pll_enable_q_p >> 3) & 0x0F;
		uint32_t q = (q_code == 0) ? 16 : (q_code == 1) ? 17 : q_code;

		zassert_equal(sol->r3_pll_enable_q_p & 0x80, 0,
			      "divider solution left PLL enabled");

		zassert_equal(mclk_hz % (64u * q), 0, "divider solution does not divide exactly");
		fsref_x2 = mclk_hz / (64u * q);
	}

	int64_t ncodec_x2 = ncodec_code + 2;

	return (fsref_x2 % ncodec_x2 == 0) && (fsref_x2 / ncodec_x2 == expected_rate_hz);
}

ZTEST(tlv320aic3104_clock_solver, test_divider_exact_multiple_disables_pll)
{
	struct tlv320aic3104_clock_solution sol;

	zassert_equal(0, tlv320aic3104_clock_solve(12288000, 48000, &sol));
	zassert_false(sol.pll_enabled, "exact division must not engage the PLL");
	zassert_equal(sol.r3_pll_enable_q_p & 0x80, 0, "R3 D7 must be 0 when PLL is off");
	zassert_true(decoded_rate_matches(&sol, 12288000, 48000));
}

ZTEST(tlv320aic3104_clock_solver, test_pll_required_for_standard_rate)
{
	struct tlv320aic3104_clock_solution sol;

	zassert_equal(0, tlv320aic3104_clock_solve(12000000, 44100, &sol));
	zassert_true(sol.pll_enabled, "12 MHz to 44.1 kHz needs the PLL");
	zassert_equal(sol.r3_pll_enable_q_p & 0x80, 0x80, "R3 D7 must be 1 when PLL is on");
	zassert_true(decoded_rate_matches(&sol, 12000000, 44100));
}

ZTEST(tlv320aic3104_clock_solver, test_mclk_below_pll_input_minimum_rejected)
{
	struct tlv320aic3104_clock_solution sol;

	zassert_equal(-ENOTSUP, tlv320aic3104_clock_solve(400000, 8000, &sol));
}

ZTEST(tlv320aic3104_clock_solver, test_mclk_above_input_maximum_rejected)
{
	struct tlv320aic3104_clock_solution sol;

	zassert_equal(-ENOTSUP, tlv320aic3104_clock_solve(60000000, 48000, &sol));
}

ZTEST(tlv320aic3104_clock_solver, test_unreachable_rate_rejected)
{
	struct tlv320aic3104_clock_solution sol;

	zassert_equal(-ENOTSUP, tlv320aic3104_clock_solve(12000000, 44101, &sol));
}

ZTEST(tlv320aic3104_clock_solver, test_every_standard_rate_at_common_mclk)
{

	static const uint32_t rates[] = {8000,  11025, 12000, 16000, 22050,
					 24000, 32000, 44100, 48000};

	for (size_t i = 0; i < ARRAY_SIZE(rates); i++) {
		struct tlv320aic3104_clock_solution sol;
		int ret = tlv320aic3104_clock_solve(12000000, rates[i], &sol);

		zassert_equal(0, ret, "rate %u should be reachable at 12 MHz", rates[i]);
		zassert_true(decoded_rate_matches(&sol, 12000000, rates[i]),
			     "rate %u decoded incorrectly", rates[i]);
	}
}

ZTEST(tlv320aic3104_clock_solver, test_zero_rate_rejected_before_arithmetic)
{
	struct tlv320aic3104_clock_solution sol;

	zassert_equal(-EINVAL, tlv320aic3104_clock_solve(12000000, 0, &sol));
}

ZTEST(tlv320aic3104_clock_solver, test_zero_mclk_rejected_before_arithmetic)
{
	struct tlv320aic3104_clock_solution sol;

	zassert_equal(-EINVAL, tlv320aic3104_clock_solve(0, 48000, &sol));
}

ZTEST(tlv320aic3104_clock_solver, test_fractional_ncodec_divider_honours_fsref_floor)
{
	struct tlv320aic3104_clock_solution sol;
	uint8_t ncodec_code;
	int64_t ncodec_x2;
	uint8_t q_code;
	uint32_t q;
	int64_t fsref_x2;

	zassert_equal(0, tlv320aic3104_clock_solve(36864000, 16000, &sol));
	zassert_true(decoded_rate_matches(&sol, 36864000, 16000));

	if (sol.pll_enabled) {
		return;
	}

	ncodec_code = sol.r2_ndac_nadc & 0x0F;
	ncodec_x2 = ncodec_code + 2;

	if ((ncodec_x2 % 2) == 0) {
		return;
	}

	q_code = (sol.r3_pll_enable_q_p >> 3) & 0x0F;
	q = (q_code == 0) ? 16 : (q_code == 1) ? 17 : q_code;
	fsref_x2 = 36864000 / (64u * q);

	zassert_true(fsref_x2 >= 39000 * 2,
		     "half-integer NCODEC divider solution at fS(ref) %lld Hz, below the "
		     "39 kHz floor that mode requires",
		     (long long)(fsref_x2 / 2));
}

ZTEST_SUITE(tlv320aic3104_clock_solver, NULL, NULL, NULL, NULL, NULL);
```

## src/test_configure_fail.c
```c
/*
 * SPDX-FileCopyrightText: Copyright The Zephyr Project Contributors
 * SPDX-License-Identifier: Apache-2.0
 */

#include <zephyr/ztest.h>
#include <zephyr/device.h>
#include <zephyr/audio/codec.h>
#include <errno.h>

#include "tlv320aic3104_emul.h"

#define CODEC DEVICE_DT_GET(DT_NODELABEL(tlv320aic3104_configure_fail))

#define REG_SOFT_RESET     0x01U
#define REG_CODEC_DATAPATH 0x07U
#define REG_DAC_POWER      0x25U
#define REG_HPLOUT_LEVEL   0x33U
#define VAL_HPLOUT_LEVEL   0x09U

static struct audio_codec_cfg s_cfg = {
	.mclk_freq = 12288000,
	.dai_type = AUDIO_DAI_TYPE_I2S,
	.dai_cfg.i2s.frame_clk_freq = 48000,
	.dai_cfg.i2s.word_size = 16,
};

static void *suite_setup(void)
{
	zassert_true(device_is_ready(CODEC), "codec device not ready");
	return NULL;
}

static void before_each(void *fixture)
{
	ARG_UNUSED(fixture);
	tlv320aic3104_emul_reset();
}

ZTEST_SUITE(tlv320_configure_fail, NULL, suite_setup, before_each, NULL, NULL);

ZTEST(tlv320_configure_fail, test_configure_ok_baseline)
{
	zassert_ok(audio_codec_configure(CODEC, &s_cfg), "configure must succeed without faults");
	zassert_equal(tlv320aic3104_emul_last_val(0, REG_HPLOUT_LEVEL), VAL_HPLOUT_LEVEL,
		      "init sequence did not reach HPLOUT_LEVEL");
}

ZTEST(tlv320_configure_fail, test_soft_reset_write_failure_propagates)
{
	tlv320aic3104_emul_fail_write_at(0, REG_SOFT_RESET);

	zassert_equal(audio_codec_configure(CODEC, &s_cfg), -EIO,
		      "soft-reset write failure must propagate");
	zassert_equal(tlv320aic3104_emul_last_val(0, REG_CODEC_DATAPATH), 0x00,
		      "writes after the failed reset must not run");
}

ZTEST(tlv320_configure_fail, test_channel_mode_write_failure_propagates)
{
	tlv320aic3104_emul_fail_write_at(0, REG_CODEC_DATAPATH);

	zassert_equal(audio_codec_configure(CODEC, &s_cfg), -EIO,
		      "channel-mode write failure must propagate");

	zassert_equal(tlv320aic3104_emul_last_val(0, REG_HPLOUT_LEVEL), 0x00,
		      "writes after the failed register must not run");
}

ZTEST(tlv320_configure_fail, test_init_sequence_write_failure_propagates)
{
	tlv320aic3104_emul_fail_write_at(0, REG_DAC_POWER);

	zassert_equal(audio_codec_configure(CODEC, &s_cfg), -EIO,
		      "init-sequence write failure must propagate");
	zassert_equal(tlv320aic3104_emul_last_val(0, REG_HPLOUT_LEVEL), 0x00,
		      "writes after the failed register must not run");
}

ZTEST(tlv320_configure_fail, test_configure_recovers_after_fault_cleared)
{
	tlv320aic3104_emul_fail_write_at(0, REG_DAC_POWER);
	zassert_equal(audio_codec_configure(CODEC, &s_cfg), -EIO, "armed fault must fail");

	tlv320aic3104_emul_reset();
	zassert_ok(audio_codec_configure(CODEC, &s_cfg), "configure must succeed after recovery");
	zassert_equal(tlv320aic3104_emul_last_val(0, REG_HPLOUT_LEVEL), VAL_HPLOUT_LEVEL,
		      "recovered sequence did not reach HPLOUT_LEVEL");
}
```

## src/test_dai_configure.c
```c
/*
 * SPDX-FileCopyrightText: Copyright The Zephyr Project Contributors
 * SPDX-License-Identifier: Apache-2.0
 */

#include <errno.h>
#include <zephyr/audio/codec.h>
#include <zephyr/device.h>
#include <zephyr/drivers/i2s.h>
#include <zephyr/ztest.h>

#include "tlv320aic3104_emul.h"

#define CODEC DEVICE_DT_GET(DT_NODELABEL(tlv320aic3104_dai_configure))

#define R_ASI_CTRL_A 0x08U
#define R_ASI_CTRL_B 0x09U

#define ASI_CTRL_A_HIZ_DOUT    0x20U
#define ASI_CTRL_A_BCLK_OUTPUT 0x80U
#define ASI_CTRL_A_WCLK_OUTPUT 0x40U

static struct audio_codec_cfg base_cfg(void)
{
	struct audio_codec_cfg cfg = {
		.mclk_freq = 12288000,
		.dai_type = AUDIO_DAI_TYPE_I2S,
		.dai_cfg.i2s.frame_clk_freq = 48000,
		.dai_cfg.i2s.word_size = 16,
	};

	return cfg;
}

static void before_each(void *fixture)
{
	ARG_UNUSED(fixture);
	tlv320aic3104_emul_reset();
}

ZTEST_SUITE(tlv320_dai_configure, NULL, NULL, before_each, NULL, NULL);

ZTEST(tlv320_dai_configure, test_mode_i2s)
{
	struct audio_codec_cfg cfg = base_cfg();

	cfg.dai_type = AUDIO_DAI_TYPE_I2S;
	zassert_ok(audio_codec_configure(CODEC, &cfg));
	zassert_equal(tlv320aic3104_emul_last_val(0, R_ASI_CTRL_B), 0x00, "I2S, 16-bit -> 00_00");
}

ZTEST(tlv320_dai_configure, test_mode_left_justified)
{
	struct audio_codec_cfg cfg = base_cfg();

	cfg.dai_type = AUDIO_DAI_TYPE_LEFT_JUSTIFIED;
	zassert_ok(audio_codec_configure(CODEC, &cfg));
	zassert_equal(tlv320aic3104_emul_last_val(0, R_ASI_CTRL_B), 0xC0,
		      "left justified -> 11_00");
}

ZTEST(tlv320_dai_configure, test_mode_right_justified)
{
	struct audio_codec_cfg cfg = base_cfg();

	cfg.dai_type = AUDIO_DAI_TYPE_RIGHT_JUSTIFIED;
	zassert_ok(audio_codec_configure(CODEC, &cfg));
	zassert_equal(tlv320aic3104_emul_last_val(0, R_ASI_CTRL_B), 0x80,
		      "right justified -> 10_00");
}

ZTEST(tlv320_dai_configure, test_pcm_rejected)
{
	struct audio_codec_cfg cfg = base_cfg();

	cfg.dai_type = AUDIO_DAI_TYPE_PCM;
	zassert_equal(audio_codec_configure(CODEC, &cfg), -ENOTSUP);
	zassert_equal(tlv320aic3104_emul_last_val(0, R_ASI_CTRL_A), 0x00, "R8 untouched");
	zassert_equal(tlv320aic3104_emul_last_val(0, R_ASI_CTRL_B), 0x00, "R9 untouched");
}

ZTEST(tlv320_dai_configure, test_unsupported_mode_rejected)
{
	struct audio_codec_cfg cfg = base_cfg();

	cfg.dai_type = AUDIO_DAI_TYPE_PCMA;
	zassert_equal(audio_codec_configure(CODEC, &cfg), -ENOTSUP);
	zassert_equal(tlv320aic3104_emul_last_val(0, R_ASI_CTRL_A), 0x00, "R8 untouched");
	zassert_equal(tlv320aic3104_emul_last_val(0, R_ASI_CTRL_B), 0x00, "R9 untouched");
}

ZTEST(tlv320_dai_configure, test_word_length_16)
{
	struct audio_codec_cfg cfg = base_cfg();

	cfg.dai_cfg.i2s.word_size = 16;
	zassert_ok(audio_codec_configure(CODEC, &cfg));
	zassert_equal(tlv320aic3104_emul_last_val(0, R_ASI_CTRL_B), 0x00, "16-bit -> 00_00_00");
}

ZTEST(tlv320_dai_configure, test_word_length_20)
{
	struct audio_codec_cfg cfg = base_cfg();

	cfg.dai_cfg.i2s.word_size = 20;
	zassert_ok(audio_codec_configure(CODEC, &cfg));
	zassert_equal(tlv320aic3104_emul_last_val(0, R_ASI_CTRL_B), 0x10, "20-bit -> 00_01_00");
}

ZTEST(tlv320_dai_configure, test_word_length_24)
{
	struct audio_codec_cfg cfg = base_cfg();

	cfg.dai_cfg.i2s.word_size = 24;
	zassert_ok(audio_codec_configure(CODEC, &cfg));
	zassert_equal(tlv320aic3104_emul_last_val(0, R_ASI_CTRL_B), 0x20, "24-bit -> 00_10_00");
}

ZTEST(tlv320_dai_configure, test_word_length_32)
{
	struct audio_codec_cfg cfg = base_cfg();

	cfg.dai_cfg.i2s.word_size = 32;
	zassert_ok(audio_codec_configure(CODEC, &cfg));
	zassert_equal(tlv320aic3104_emul_last_val(0, R_ASI_CTRL_B), 0x30, "32-bit -> 00_11_00");
}

ZTEST(tlv320_dai_configure, test_unsupported_word_length_rejected)
{
	struct audio_codec_cfg cfg = base_cfg();

	cfg.dai_cfg.i2s.word_size = 18;
	zassert_equal(audio_codec_configure(CODEC, &cfg), -ENOTSUP);
	zassert_equal(tlv320aic3104_emul_last_val(0, R_ASI_CTRL_A), 0x00, "R8 untouched");
	zassert_equal(tlv320aic3104_emul_last_val(0, R_ASI_CTRL_B), 0x00, "R9 untouched");
}

ZTEST(tlv320_dai_configure, test_clock_direction_codec_target)
{
	struct audio_codec_cfg cfg = base_cfg();

	cfg.dai_cfg.i2s.options = I2S_OPT_BIT_CLK_TARGET | I2S_OPT_FRAME_CLK_TARGET;
	zassert_ok(audio_codec_configure(CODEC, &cfg));
	zassert_equal(tlv320aic3104_emul_last_val(0, R_ASI_CTRL_A), ASI_CTRL_A_HIZ_DOUT,
		      "target options: codec takes BCLK+WCLK, D7=0, D6=0");
}

ZTEST(tlv320_dai_configure, test_clock_direction_codec_controller)
{
	struct audio_codec_cfg cfg = base_cfg();

	cfg.dai_cfg.i2s.options = I2S_OPT_BIT_CLK_CONTROLLER | I2S_OPT_FRAME_CLK_CONTROLLER;
	zassert_ok(audio_codec_configure(CODEC, &cfg));
	zassert_equal(tlv320aic3104_emul_last_val(0, R_ASI_CTRL_A),
		      ASI_CTRL_A_HIZ_DOUT | ASI_CTRL_A_BCLK_OUTPUT | ASI_CTRL_A_WCLK_OUTPUT,
		      "controller options: codec drives BCLK+WCLK, D7=1, D6=1");
}

ZTEST(tlv320_dai_configure, test_clock_direction_codec_drives_bclk_only)
{
	struct audio_codec_cfg cfg = base_cfg();

	cfg.dai_cfg.i2s.options = I2S_OPT_BIT_CLK_CONTROLLER | I2S_OPT_FRAME_CLK_TARGET;
	zassert_ok(audio_codec_configure(CODEC, &cfg));
	zassert_equal(tlv320aic3104_emul_last_val(0, R_ASI_CTRL_A),
		      ASI_CTRL_A_HIZ_DOUT | ASI_CTRL_A_BCLK_OUTPUT,
		      "codec drives BCLK, takes WCLK: D7=1, D6=0");
}
```

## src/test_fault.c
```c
/*
 * SPDX-FileCopyrightText: Copyright The Zephyr Project Contributors
 * SPDX-License-Identifier: Apache-2.0
 */

#include <errno.h>
#include <zephyr/audio/codec.h>
#include <zephyr/device.h>
#include <zephyr/ztest.h>

#include "tlv320aic3104_priv.h"

#include "tlv320aic3104_emul.h"

#define CODEC DEVICE_DT_GET(DT_NODELABEL(tlv320aic3104_fault))

#define R_HP_OUTPUT_DRIVER_CTRL  0x26U
#define R_HPRCOM_LEVEL           0x48U
#define R_STICKY_INTERRUPT_FLAGS 0x60U

#define HP_OUTPUT_DRIVER_CTRL_EXPECT 0x06U

#define STICKY_INTERRUPT_FLAGS_HPLOUT_SHORT 0x80U

static uint32_t s_cb_errors;
static int s_cb_calls;

static void fault_cb(const struct device *dev, uint32_t errors)
{
	zassert_equal(dev, CODEC, "callback must receive the codec device");
	s_cb_errors = errors;
	s_cb_calls++;
}

static void configure_codec(void)
{
	struct audio_codec_cfg cfg = {
		.mclk_freq = 12288000,
		.dai_type = AUDIO_DAI_TYPE_I2S,
		.dai_cfg.i2s.frame_clk_freq = 48000,
		.dai_cfg.i2s.word_size = 16,
	};
	zassert_ok(audio_codec_configure(CODEC, &cfg));
}

static void before_each(void *fixture)
{
	ARG_UNUSED(fixture);

	tlv320aic3104_emul_reset();
	s_cb_errors = 0;
	s_cb_calls = 0;

	configure_codec();
}

ZTEST_SUITE(tlv320_fault, NULL, NULL, before_each, NULL, NULL);

ZTEST(tlv320_fault, test_init_enables_short_circuit_protection)
{
	zassert_equal(tlv320aic3104_emul_last_val(0, R_HP_OUTPUT_DRIVER_CTRL),
		      HP_OUTPUT_DRIVER_CTRL_EXPECT, "R38 D2|D1 must be set by configure()");
}

ZTEST(tlv320_fault, test_hprcom_untouched_without_the_board_property)
{
	const uint8_t sentinel = 0xA5;

	tlv320aic3104_emul_set_val(0, R_HPRCOM_LEVEL, sentinel);

	configure_codec();

	zassert_equal(tlv320aic3104_emul_last_val(0, R_HPRCOM_LEVEL), sentinel,
		      "R72 must not be written without hprcom-vcm-output");
	zassert_equal(tlv320aic3104_emul_last_val(0, R_HP_OUTPUT_DRIVER_CTRL) & 0x38, 0,
		      "R38 D5-D3 must stay at its reset mode");
}

ZTEST(tlv320_fault, test_register_callback_present_in_api)
{
	zassert_ok(audio_codec_register_error_callback(CODEC, fault_cb));
}

ZTEST(tlv320_fault, test_clear_errors_present_in_api)
{
	zassert_ok(audio_codec_clear_errors(CODEC));
}

ZTEST(tlv320_fault, test_short_circuit_via_start_output_reports_overcurrent)
{
	zassert_ok(audio_codec_register_error_callback(CODEC, fault_cb));

	tlv320aic3104_emul_set_val(0, R_STICKY_INTERRUPT_FLAGS,
				   STICKY_INTERRUPT_FLAGS_HPLOUT_SHORT);
	audio_codec_start_output(CODEC);

	zassert_equal(s_cb_calls, 1, "callback must fire exactly once for the raised fault");
	zassert_equal(s_cb_errors, AUDIO_CODEC_ERROR_OVERCURRENT,
		      "callback must report AUDIO_CODEC_ERROR_OVERCURRENT");
}

ZTEST(tlv320_fault, test_short_circuit_via_set_property_reports_overcurrent)
{
	audio_property_value_t val = {.vol = 0};

	zassert_ok(audio_codec_register_error_callback(CODEC, fault_cb));

	tlv320aic3104_emul_set_val(0, R_STICKY_INTERRUPT_FLAGS,
				   STICKY_INTERRUPT_FLAGS_HPLOUT_SHORT);
	zassert_ok(audio_codec_set_property(CODEC, AUDIO_PROPERTY_OUTPUT_VOLUME, AUDIO_CHANNEL_ALL,
					    val));

	zassert_equal(s_cb_calls, 1, "callback must fire exactly once for the raised fault");
	zassert_equal(s_cb_errors, AUDIO_CODEC_ERROR_OVERCURRENT,
		      "callback must report AUDIO_CODEC_ERROR_OVERCURRENT");
}

ZTEST(tlv320_fault, test_no_short_circuit_no_callback)
{
	uint32_t errors;

	zassert_ok(audio_codec_register_error_callback(CODEC, fault_cb));

	audio_codec_start_output(CODEC);

	zassert_equal(s_cb_calls, 0, "no fault raised, callback must not fire");
	zassert_ok(tlv320aic3104_fault_get_errors(CODEC, &errors));
	zassert_equal(errors, 0, "no fault raised, sticky state must stay clear");
}

ZTEST(tlv320_fault, test_sticky_flag_survives_status_read)
{
	uint32_t errors;

	tlv320aic3104_emul_set_val(0, R_STICKY_INTERRUPT_FLAGS,
				   STICKY_INTERRUPT_FLAGS_HPLOUT_SHORT);
	audio_codec_start_output(CODEC);

	zassert_ok(tlv320aic3104_fault_get_errors(CODEC, &errors));
	zassert_equal(errors, AUDIO_CODEC_ERROR_OVERCURRENT, "flag must be set after the fault");

	zassert_ok(tlv320aic3104_fault_get_errors(CODEC, &errors));
	zassert_equal(errors, AUDIO_CODEC_ERROR_OVERCURRENT,
		      "flag must still be set after a status read");

	tlv320aic3104_emul_set_val(0, R_STICKY_INTERRUPT_FLAGS, 0x00);
	audio_codec_start_output(CODEC);
	zassert_ok(tlv320aic3104_fault_get_errors(CODEC, &errors));
	zassert_equal(errors, AUDIO_CODEC_ERROR_OVERCURRENT,
		      "flag must still be set once the register clears on its own");
}

ZTEST(tlv320_fault, test_clear_errors_clears_the_sticky_flag)
{
	uint32_t errors;

	tlv320aic3104_emul_set_val(0, R_STICKY_INTERRUPT_FLAGS,
				   STICKY_INTERRUPT_FLAGS_HPLOUT_SHORT);
	audio_codec_start_output(CODEC);
	zassert_ok(tlv320aic3104_fault_get_errors(CODEC, &errors));
	zassert_equal(errors, AUDIO_CODEC_ERROR_OVERCURRENT, "flag must be set before clearing");

	zassert_ok(audio_codec_clear_errors(CODEC));

	zassert_ok(tlv320aic3104_fault_get_errors(CODEC, &errors));
	zassert_equal(errors, 0, "clear_errors() must be what clears the sticky flag");
}

ZTEST(tlv320_fault, test_get_errors_null_arg)
{
	zassert_equal(tlv320aic3104_fault_get_errors(CODEC, NULL), -EINVAL,
		      "NULL out_errors must return -EINVAL");
}
```

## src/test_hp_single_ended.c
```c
/*
 * SPDX-FileCopyrightText: Copyright The Zephyr Project Contributors
 * SPDX-License-Identifier: Apache-2.0
 */

/*
 * hp-single-ended: page 0 register 14 (SLAS509G Table 10-22, SLAS510G
 * Table 10-20). D7 = 1 ac-coupled high-power outputs, D6 = 1 stereo fully
 * differential output configuration, D3 = 1 pseudo-differential (never set
 * together with D6), D5/D4 read-only flags, D2-D0 reserved (write zeros).
 */

#include <zephyr/ztest.h>
#include <zephyr/device.h>
#include <zephyr/audio/codec.h>

#include "tlv320aic3104_priv.h"

#include "tlv320aic3104_emul.h"

#define AIC_HP_SE   DEVICE_DT_GET(DT_NODELABEL(tlv320aic3106_hp_se))
#define AIC_HP_DIFF DEVICE_DT_GET(DT_NODELABEL(tlv320aic3106_default))

#define R14_HEADSET_B 0x0EU

static void configure(const struct device *dev)
{
	struct audio_codec_cfg cfg = {
		.mclk_freq = 12288000U,
		.dai_type = AUDIO_DAI_TYPE_I2S,
		.dai_cfg.i2s.frame_clk_freq = 48000U,
		.dai_cfg.i2s.word_size = 16,
	};

	tlv320aic3104_emul_reset();
	zassert_ok(audio_codec_configure(dev, &cfg));
}

ZTEST(tlv320_aic3104_hp_se, test_single_ended_clears_fully_differential)
{
	configure(AIC_HP_SE);
	zassert_equal(tlv320aic3104_emul_last_val(0, R14_HEADSET_B), 0x80U);
}

ZTEST(tlv320_aic3104_hp_se, test_default_stays_fully_differential)
{
	configure(AIC_HP_DIFF);
	zassert_equal(tlv320aic3104_emul_last_val(0, R14_HEADSET_B), 0xC0U);
}

ZTEST(tlv320_aic3104_hp_se, test_single_ended_survives_output_start_stop)
{
	configure(AIC_HP_SE);
	zassert_ok(audio_codec_start(AIC_HP_SE, AUDIO_DAI_DIR_TXRX));
	zassert_ok(audio_codec_stop(AIC_HP_SE, AUDIO_DAI_DIR_TXRX));
	zassert_equal(tlv320aic3104_emul_last_val(0, R14_HEADSET_B), 0x80U);
}

ZTEST(tlv320_aic3104_hp_se, test_r14_written_before_dac_power_and_output_stage)
{
	configure(AIC_HP_SE);
	zassert_true(tlv320aic3104_emul_write_seq(0, R14_HEADSET_B) <
		     tlv320aic3104_emul_write_seq(0, DAC_POWER_DRV));
	zassert_true(tlv320aic3104_emul_write_seq(0, R14_HEADSET_B) <
		     tlv320aic3104_emul_write_seq(0, HP_OUTPUT_STAGE));

	configure(AIC_HP_DIFF);
	zassert_true(tlv320aic3104_emul_write_seq(0, R14_HEADSET_B) <
		     tlv320aic3104_emul_write_seq(0, DAC_POWER_DRV));
}

ZTEST_SUITE(tlv320_aic3104_hp_se, NULL, NULL, NULL, NULL, NULL);
```
